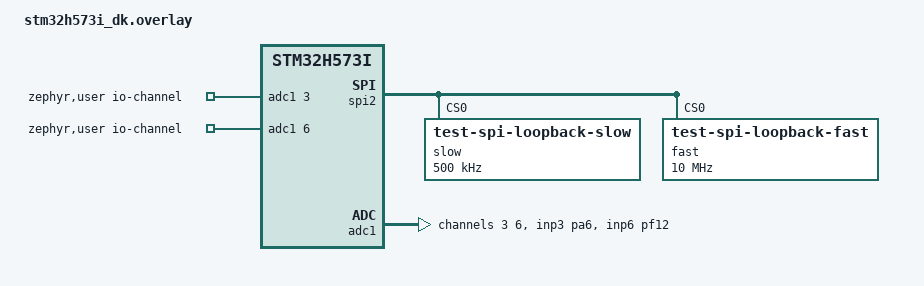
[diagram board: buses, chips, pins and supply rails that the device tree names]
/*
 * Copyright (c) 2023 STMicroelectronics
 *
 * SPDX-License-Identifier: Apache-2.0
 */

tst_dma0: &gpdma1 {
	status = "okay";
};

&rcc {
	apb1-prescaler = <2>;
};

&spi2 {
	dmas = <&gpdma1 0 9 STM32_DMA_PERIPH_TX>,
	       <&gpdma1 1 8 STM32_DMA_PERIPH_RX>;
	dma-names = "tx", "rx";
	fifo-enable;
	slow@0 {
		compatible = "test-spi-loopback-slow";
		reg = <0>;
		spi-max-frequency = <500000>;
	};
	fast@0 {
		compatible = "test-spi-loopback-fast";
		reg = <0>;
		spi-max-frequency = <10000000>;
	};
};

&gpdma1 {
	status = "okay";
};

&gpdma2 {
	status = "okay";
};

/ {
	zephyr,user {
		io-channels = <&adc1 3>, <&adc1 6>;
	};
};

&adc1 {
	dmas = <&gpdma1 0 0 (STM32_DMA_PERIPH_RX | STM32_DMA_MEM_16BITS | STM32_DMA_PERIPH_16BITS)>;
	dma-names = "gpdma";
	pinctrl-0 = <&adc1_inp3_pa6 &adc1_inp6_pf12>;
	#address-cells = <1>;
	#size-cells = <0>;
	channel@3 {
		reg = <3>;
		zephyr,gain = "ADC_GAIN_1";
		zephyr,reference = "ADC_REF_INTERNAL";
		zephyr,acquisition-time = <ADC_ACQ_TIME_DEFAULT>;
		zephyr,resolution = <12>;
	};
	channel@6 {
		reg = <6>;
		zephyr,gain = "ADC_GAIN_1";
		zephyr,reference = "ADC_REF_INTERNAL";
		zephyr,acquisition-time = <ADC_ACQ_TIME_DEFAULT>;
		zephyr,resolution = <12>;
	};
};

dut: &usart3 {
	dmas = <&gpdma1 0 26 STM32_DMA_PERIPH_TX>,
	       <&gpdma1 1 25 STM32_DMA_PERIPH_RX>;
	dma-names = "tx", "rx";
};
